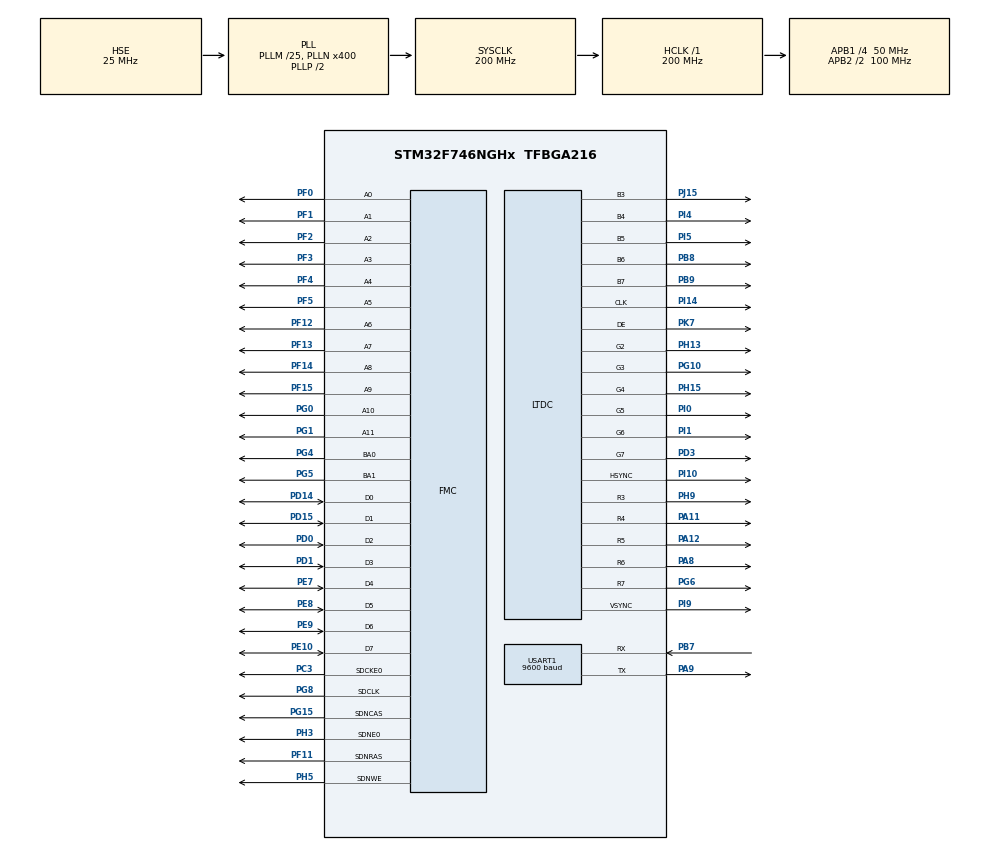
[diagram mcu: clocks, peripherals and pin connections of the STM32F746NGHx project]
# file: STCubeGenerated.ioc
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CORTEX_M7.AccessPermission-Cortex_Memory_Protection_Unit_Region0_Settings=MPU_REGION_FULL_ACCESS
CORTEX_M7.AccessPermission-Cortex_Memory_Protection_Unit_Region1_Settings=MPU_REGION_FULL_ACCESS
CORTEX_M7.AccessPermission-Cortex_Memory_Protection_Unit_Region2_Settings=MPU_REGION_FULL_ACCESS
CORTEX_M7.BaseAddress-Cortex_Memory_Protection_Unit_Region0_Settings=0x20000000
CORTEX_M7.BaseAddress-Cortex_Memory_Protection_Unit_Region1_Settings=0x2004C000
CORTEX_M7.BaseAddress-Cortex_Memory_Protection_Unit_Region2_Settings=0xC0000000
CORTEX_M7.CPU_DCache=Enabled
CORTEX_M7.CPU_ICache=Enabled
CORTEX_M7.DisableExec-Cortex_Memory_Protection_Unit_Region0_Settings=MPU_INSTRUCTION_ACCESS_DISABLE
CORTEX_M7.DisableExec-Cortex_Memory_Protection_Unit_Region1_Settings=MPU_INSTRUCTION_ACCESS_DISABLE
CORTEX_M7.DisableExec-Cortex_Memory_Protection_Unit_Region2_Settings=MPU_INSTRUCTION_ACCESS_DISABLE
CORTEX_M7.Enable-Cortex_Memory_Protection_Unit_Region0_Settings=MPU_REGION_ENABLE
CORTEX_M7.Enable-Cortex_Memory_Protection_Unit_Region1_Settings=MPU_REGION_ENABLE
CORTEX_M7.Enable-Cortex_Memory_Protection_Unit_Region2_Settings=MPU_REGION_ENABLE
CORTEX_M7.IsBufferable-Cortex_Memory_Protection_Unit_Region0_Settings=MPU_ACCESS_BUFFERABLE
CORTEX_M7.IsCacheable-Cortex_Memory_Protection_Unit_Region0_Settings=MPU_ACCESS_CACHEABLE
CORTEX_M7.IsShareable-Cortex_Memory_Protection_Unit_Region0_Settings=MPU_ACCESS_NOT_SHAREABLE
CORTEX_M7.MPU_Control=MPU_PRIVILEGED_DEFAULT
CORTEX_M7.Size-Cortex_Memory_Protection_Unit_Region0_Settings=MPU_REGION_SIZE_512KB
CORTEX_M7.Size-Cortex_Memory_Protection_Unit_Region1_Settings=MPU_REGION_SIZE_16KB
CORTEX_M7.Size-Cortex_Memory_Protection_Unit_Region2_Settings=MPU_REGION_SIZE_16MB
CORTEX_M7.TypeExtField-Cortex_Memory_Protection_Unit_Region0_Settings=MPU_TEX_LEVEL1
CORTEX_M7.TypeExtField-Cortex_Memory_Protection_Unit_Region1_Settings=MPU_TEX_LEVEL1
CORTEX_M7.TypeExtField-Cortex_Memory_Protection_Unit_Region2_Settings=MPU_TEX_LEVEL1
Mcu.Family=STM32F7
Mcu.Name=STM32F746NGHx
Mcu.Package=TFBGA216
NVIC.PriorityGroup=NVIC_PRIORITYGROUP_4
PA11.Mode=RGB565
PA11.Signal=LTDC_R4
PA12.Mode=RGB565
PA12.Signal=LTDC_R5
PA8.Mode=RGB565
PA8.Signal=LTDC_R6
PA9.Mode=Asynchronous
PA9.Signal=USART1_TX
PB7.Mode=Asynchronous
PB7.Signal=USART1_RX
PB8.Mode=RGB565
PB8.Signal=LTDC_B6
PB9.Mode=RGB565
PB9.Signal=LTDC_B7
PC3.Mode=SdramChipSelect1_1
PC3.Signal=FMC_SDCKE0
PC6.Signal=USART6_TX
PC7.Signal=USART6_RX
PD0.Signal=FMC_D2_DA2
PD1.Signal=FMC_D3_DA3
PD10.Signal=FMC_D15_DA15
PD11.Signal=FMC_A16_CLE
PD14.Signal=FMC_D0_DA0
PD15.Signal=FMC_D1_DA1
PD3.Mode=RGB565
PD3.Signal=LTDC_G7
PD8.Signal=FMC_D13_DA13
PD9.Signal=FMC_D14_DA14
PE0.Signal=FMC_NBL0
PE1.Signal=FMC_NBL1
PE10.Signal=FMC_D7_DA7
PE11.Signal=FMC_D8_DA8
PE12.Signal=FMC_D9_DA9
PE13.Signal=FMC_D10_DA10
PE14.Signal=FMC_D11_DA11
PE15.Signal=FMC_D12_DA12
PE7.Signal=FMC_D4_DA4
PE8.Signal=FMC_D5_DA5
PE9.Signal=FMC_D6_DA6
PF0.Signal=FMC_A0
PF1.Signal=FMC_A1
PF11.Signal=FMC_SDNRAS
PF12.Signal=FMC_A6
PF13.Signal=FMC_A7
PF14.Signal=FMC_A8
PF15.Signal=FMC_A9
PF2.Signal=FMC_A2
PF3.Signal=FMC_A3
PF4.Signal=FMC_A4
PF5.Signal=FMC_A5
PG0.Signal=FMC_A10
PG1.Signal=FMC_A11
PG10.Mode=RGB565
PG10.Signal=LTDC_G3
PG15.Signal=FMC_SDNCAS
PG4.Signal=FMC_A14_BA0
PG5.Signal=FMC_A15_BA1
PG6.Mode=RGB565
PG6.Signal=LTDC_R7
PG8.Signal=FMC_SDCLK
PH0/OSC_IN.Mode=HSE-External-Oscillator
PH0/OSC_IN.Signal=RCC_OSC_IN
PH1/OSC_OUT.Mode=HSE-External-Oscillator
PH1/OSC_OUT.Signal=RCC_OSC_OUT
PH13.Mode=RGB565
PH13.Signal=LTDC_G2
PH15.Mode=RGB565
PH15.Signal=LTDC_G4
PH3.Mode=SdramChipSelect1_1
PH3.Signal=FMC_SDNE0
PH5.Signal=FMC_SDNWE
PH9.Mode=RGB565
PH9.Signal=LTDC_R3
PI0.Mode=RGB565
PI0.Signal=LTDC_G5
PI1.Mode=RGB565
PI1.Signal=LTDC_G6
PI10.Mode=RGB565
PI10.Signal=LTDC_HSYNC
PI14.Mode=RGB565
PI14.Signal=LTDC_CLK
PI4.Mode=RGB565
PI4.Signal=LTDC_B4
PI5.Mode=RGB565
PI5.Signal=LTDC_B5
PI9.Mode=RGB565
PI9.Signal=LTDC_VSYNC
PJ15.Mode=RGB565
PJ15.Signal=LTDC_B3
PK7.Mode=RGB565
PK7.Signal=LTDC_DE
ProjectManager.HeapSize=0x200
ProjectManager.StackSize=0x400
ProjectManager.TargetToolchain=MDK-ARM V5
RCC.AHBFreq_Value=200000000
RCC.APB1CLKDivider=RCC_HCLK_DIV4
RCC.APB1Freq_Value=50000000
RCC.APB1TimFreq_Value=100000000
RCC.APB2CLKDivider=RCC_HCLK_DIV2
RCC.APB2Freq_Value=100000000
RCC.APB2TimFreq_Value=200000000
RCC.CortexFreq_Value=200000000
RCC.HCLKFreq_Value=200000000
RCC.HSE_VALUE=25000000
RCC.HSI_VALUE=16000000
RCC.LSE_VALUE=32768
RCC.PLLM=25
RCC.PLLN=400
RCC.PLLSAIRDiv=RCC_PLLSAIDIVR_4
RCC.PLLSourceVirtual=RCC_PLLSOURCE_HSE
RCC.SYSCLKFreq_VALUE=200000000
RCC.SYSCLKSource=RCC_SYSCLKSOURCE_PLLCLK
RCC.USBFreq_Value=200000000
RCC.VCOOutputFreq_Value=400000000
SH.FMC_A0.0=FMC_A0,12b-sda1
SH.FMC_A1.0=FMC_A1,12b-sda1
SH.FMC_A10.0=FMC_A10,12b-sda1
SH.FMC_A11.0=FMC_A11,12b-sda1
SH.FMC_A14_BA0.0=FMC_BA0,FourSdramBanks1
SH.FMC_A15_BA1.0=FMC_BA1,FourSdramBanks1
SH.FMC_A16_CLE.0=FMC_A16
SH.FMC_A2.0=FMC_A2,12b-sda1
SH.FMC_A3.0=FMC_A3,12b-sda1
SH.FMC_A4.0=FMC_A4,12b-sda1
SH.FMC_A5.0=FMC_A5,12b-sda1
SH.FMC_A6.0=FMC_A6,12b-sda1
SH.FMC_A7.0=FMC_A7,12b-sda1
SH.FMC_A8.0=FMC_A8,12b-sda1
SH.FMC_A9.0=FMC_A9,12b-sda1
SH.FMC_D0_DA0.0=FMC_D0,sd-8b-d1
SH.FMC_D10_DA10.0=FMC_D10
SH.FMC_D11_DA11.0=FMC_D11
SH.FMC_D12_DA12.0=FMC_D12
SH.FMC_D13_DA13.0=FMC_D13
SH.FMC_D14_DA14.0=FMC_D14
SH.FMC_D15_DA15.0=FMC_D15
SH.FMC_D1_DA1.0=FMC_D1,sd-8b-d1
SH.FMC_D2_DA2.0=FMC_D2,sd-8b-d1
SH.FMC_D3_DA3.0=FMC_D3,sd-8b-d1
SH.FMC_D4_DA4.0=FMC_D4,sd-8b-d1
SH.FMC_D5_DA5.0=FMC_D5,sd-8b-d1
SH.FMC_D6_DA6.0=FMC_D6,sd-8b-d1
SH.FMC_D7_DA7.0=FMC_D7,sd-8b-d1
SH.FMC_D8_DA8.0=FMC_D8
SH.FMC_D9_DA9.0=FMC_D9
SH.FMC_NBL0.0=FMC_NBL0
SH.FMC_NBL1.0=FMC_NBL1
SH.FMC_SDCLK.0=FMC_SDCLK,12b-sda1
SH.FMC_SDNCAS.0=FMC_SDNCAS,12b-sda1
SH.FMC_SDNRAS.0=FMC_SDNRAS,12b-sda1
SH.FMC_SDNWE.0=FMC_SDNWE,12b-sda1
USART1.BaudRate=9600
USART1.VirtualMode-Asynchronous=VM_ASYNC
VP_DMA2D_VS_DMA2D.Mode=DMA2D_Activate
board=STCubeGenerated

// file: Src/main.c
/* USER CODE BEGIN Header */
/**
  ******************************************************************************
  * @file           : main.c
  * @brief          : Main program body
  ******************************************************************************
  * @attention
  *
  * <h2><center>&copy; Copyright (c) 2019 STMicroelectronics.
  * All rights reserved.</center></h2>
  *
  * This software component is licensed by ST under BSD 3-Clause license,
  * the "License"; You may not use this file except in compliance with the
  * License. You may obtain a copy of the License at:
  *                        opensource.org/licenses/BSD-3-Clause
  *
  ******************************************************************************
  */
/* USER CODE END Header */
#include "main.h"

DMA2D_HandleTypeDef hdma2d;

LTDC_HandleTypeDef hltdc;

UART_HandleTypeDef huart1;

SDRAM_HandleTypeDef hsdram1;

/* USER CODE BEGIN PV */
/* Private variables ---------------------------------------------------------*/
uint8_t timerPeriodIsElapsed = 0;
/* USER CODE END PV */

void SystemClock_Config(void);
static void MPU_Config(void);
static void MX_GPIO_Init(void);
static void MX_FMC_Init(void);
static void MX_USART1_UART_Init(void);
static void MX_DMA2D_Init(void);
/* USER CODE BEGIN PFP */
/* Private function prototypes -----------------------------------------------*/
extern void BSP_SDRAM_Init(void);
/* USER CODE END PFP */

/* USER CODE BEGIN 0 */
/**
  * Override default HAL_GetTick function
  */
uint32_t HAL_GetTick (void) {
  static uint32_t ticks = 0U;
         uint32_t i;

  if (osKernelGetState () == osKernelRunning) {
    return ((uint32_t)osKernelGetTickCount ());
  }

  /* If Kernel is not running wait approximately 1 ms then increment
     and return auxiliary tick counter value */
  for (i = (SystemCoreClock >> 14U); i > 0U; i--) {
    __NOP(); __NOP(); __NOP(); __NOP(); __NOP(); __NOP();
    __NOP(); __NOP(); __NOP(); __NOP(); __NOP(); __NOP();
  }
  return ++ticks;
}

/**
  * Override default HAL_InitTick function
  */
HAL_StatusTypeDef HAL_InitTick(uint32_t TickPriority) {

  UNUSED(TickPriority);

  return HAL_OK;
}
/* USER CODE END 0 */

int main(void)
{

  /* MPU Configuration--------------------------------------------------------*/
  MPU_Config();

  /* Enable the CPU Cache */

  /* Enable I-Cache---------------------------------------------------------*/
  SCB_EnableICache();

  /* Enable D-Cache---------------------------------------------------------*/
  SCB_EnableDCache();

  /* MCU Configuration--------------------------------------------------------*/

  /* Reset of all peripherals, Initializes the Flash interface and the Systick. */
  HAL_Init();

  /* USER CODE BEGIN Init */
  BSP_SDRAM_Init();                           /* Initialize BSP SDRAM           */
  /* USER CODE END Init */

  /* Configure the system clock */
  SystemClock_Config();

  /* USER CODE BEGIN SysInit */
  SystemCoreClockUpdate();
  /* USER CODE END SysInit */

  /* Initialize all configured peripherals */
  MX_GPIO_Init();
  MX_USART1_UART_Init();
  MX_DMA2D_Init();
  /* USER CODE BEGIN 2 */

  /* Initialize CMSIS-RTOS2 */
  osKernelInitialize ();

  /* Create application main thread */
  osThreadNew(app_main, NULL, &app_main_attr);

  /* Start thread execution */
  osKernelStart();

  /* USER CODE END 2 */

  /* Infinite loop */
  /* USER CODE BEGIN WHILE */

	// DO NOT PLACE CODE HERE!!! This place is unreachable because threading is being used.
	// Place your code in the "app_main" function in Thread.c

  while (1)
  {

    /* USER CODE END WHILE */

  }
}

void SystemClock_Config(void)
{
  RCC_OscInitTypeDef RCC_OscInitStruct = {0};
  RCC_ClkInitTypeDef RCC_ClkInitStruct = {0};

  /** Configure the main internal regulator output voltage
  */
  __HAL_RCC_PWR_CLK_ENABLE();
  __HAL_PWR_VOLTAGESCALING_CONFIG(PWR_REGULATOR_VOLTAGE_SCALE1);

  /** Initializes the RCC Oscillators according to the specified parameters
  * in the RCC_OscInitTypeDef structure.
  */
  RCC_OscInitStruct.OscillatorType = RCC_OSCILLATORTYPE_HSE;
  RCC_OscInitStruct.HSEState = RCC_HSE_ON;
  RCC_OscInitStruct.PLL.PLLState = RCC_PLL_ON;
  RCC_OscInitStruct.PLL.PLLSource = RCC_PLLSOURCE_HSE;
  RCC_OscInitStruct.PLL.PLLM = 25;
  RCC_OscInitStruct.PLL.PLLN = 400;
  RCC_OscInitStruct.PLL.PLLP = RCC_PLLP_DIV2;
  RCC_OscInitStruct.PLL.PLLQ = 2;
  if (HAL_RCC_OscConfig(&RCC_OscInitStruct) != HAL_OK)
  {
    Error_Handler();
  }

  /** Activate the Over-Drive mode
  */
  if (HAL_PWREx_EnableOverDrive() != HAL_OK)
  {
    Error_Handler();
  }

  /** Initializes the CPU, AHB and APB buses clocks
  */
  RCC_ClkInitStruct.ClockType = RCC_CLOCKTYPE_HCLK|RCC_CLOCKTYPE_SYSCLK
                              |RCC_CLOCKTYPE_PCLK1|RCC_CLOCKTYPE_PCLK2;
  RCC_ClkInitStruct.SYSCLKSource = RCC_SYSCLKSOURCE_PLLCLK;
  RCC_ClkInitStruct.AHBCLKDivider = RCC_SYSCLK_DIV1;
  RCC_ClkInitStruct.APB1CLKDivider = RCC_HCLK_DIV4;
  RCC_ClkInitStruct.APB2CLKDivider = RCC_HCLK_DIV2;

  if (HAL_RCC_ClockConfig(&RCC_ClkInitStruct, FLASH_LATENCY_6) != HAL_OK)
  {
    Error_Handler();
  }
}

static void MX_DMA2D_Init(void)
{

  hdma2d.Instance = DMA2D;
  hdma2d.Init.Mode = DMA2D_M2M;
  hdma2d.Init.ColorMode = DMA2D_OUTPUT_ARGB8888;
  hdma2d.Init.OutputOffset = 0;
  hdma2d.LayerCfg[1].InputOffset = 0;
  hdma2d.LayerCfg[1].InputColorMode = DMA2D_INPUT_ARGB8888;
  hdma2d.LayerCfg[1].AlphaMode = DMA2D_NO_MODIF_ALPHA;
  hdma2d.LayerCfg[1].InputAlpha = 0;
  if (HAL_DMA2D_Init(&hdma2d) != HAL_OK)
  {
    Error_Handler();
  }
  if (HAL_DMA2D_ConfigLayer(&hdma2d, 1) != HAL_OK)
  {
    Error_Handler();
  }

}

void MX_LTDC_Init(void)
{

  LTDC_LayerCfgTypeDef pLayerCfg = {0};
  LTDC_LayerCfgTypeDef pLayerCfg1 = {0};

  hltdc.Instance = LTDC;
  hltdc.Init.HSPolarity = LTDC_HSPOLARITY_AL;
  hltdc.Init.VSPolarity = LTDC_VSPOLARITY_AL;
  hltdc.Init.DEPolarity = LTDC_DEPOLARITY_AL;
  hltdc.Init.PCPolarity = LTDC_PCPOLARITY_IPC;
  hltdc.Init.HorizontalSync = 7;
  hltdc.Init.VerticalSync = 3;
  hltdc.Init.AccumulatedHBP = 14;
  hltdc.Init.AccumulatedVBP = 5;
  hltdc.Init.AccumulatedActiveW = 654;
  hltdc.Init.AccumulatedActiveH = 485;
  hltdc.Init.TotalWidth = 660;
  hltdc.Init.TotalHeigh = 487;
  hltdc.Init.Backcolor.Blue = 0;
  hltdc.Init.Backcolor.Green = 0;
  hltdc.Init.Backcolor.Red = 0;
  if (HAL_LTDC_Init(&hltdc) != HAL_OK)
  {
    Error_Handler();
  }
  pLayerCfg.WindowX0 = 0;
  pLayerCfg.WindowX1 = 0;
  pLayerCfg.WindowY0 = 0;
  pLayerCfg.WindowY1 = 0;
  pLayerCfg.PixelFormat = LTDC_PIXEL_FORMAT_ARGB8888;
  pLayerCfg.Alpha = 0;
  pLayerCfg.Alpha0 = 0;
  pLayerCfg.BlendingFactor1 = LTDC_BLENDING_FACTOR1_CA;
  pLayerCfg.BlendingFactor2 = LTDC_BLENDING_FACTOR2_CA;
  pLayerCfg.FBStartAdress = 0;
  pLayerCfg.ImageWidth = 0;
  pLayerCfg.ImageHeight = 0;
  pLayerCfg.Backcolor.Blue = 0;
  pLayerCfg.Backcolor.Green = 0;
  pLayerCfg.Backcolor.Red = 0;
  if (HAL_LTDC_ConfigLayer(&hltdc, &pLayerCfg, 0) != HAL_OK)
  {
    Error_Handler();
  }
  pLayerCfg1.WindowX0 = 0;
  pLayerCfg1.WindowX1 = 0;
  pLayerCfg1.WindowY0 = 0;
  pLayerCfg1.WindowY1 = 0;
  pLayerCfg1.PixelFormat = LTDC_PIXEL_FORMAT_ARGB8888;
  pLayerCfg1.Alpha = 0;
  pLayerCfg1.Alpha0 = 0;
  pLayerCfg1.BlendingFactor1 = LTDC_BLENDING_FACTOR1_CA;
  pLayerCfg1.BlendingFactor2 = LTDC_BLENDING_FACTOR2_CA;
  pLayerCfg1.FBStartAdress = 0;
  pLayerCfg1.ImageWidth = 0;
  pLayerCfg1.ImageHeight = 0;
  pLayerCfg1.Backcolor.Blue = 0;
  pLayerCfg1.Backcolor.Green = 0;
  pLayerCfg1.Backcolor.Red = 0;
  if (HAL_LTDC_ConfigLayer(&hltdc, &pLayerCfg1, 1) != HAL_OK)
  {
    Error_Handler();
  }

}

static void MX_USART1_UART_Init(void)
{

  huart1.Instance = USART1;
  huart1.Init.BaudRate = 9600;
  huart1.Init.WordLength = UART_WORDLENGTH_8B;
  huart1.Init.StopBits = UART_STOPBITS_1;
  huart1.Init.Parity = UART_PARITY_NONE;
  huart1.Init.Mode = UART_MODE_TX_RX;
  huart1.Init.HwFlowCtl = UART_HWCONTROL_NONE;
  huart1.Init.OverSampling = UART_OVERSAMPLING_16;
  huart1.Init.OneBitSampling = UART_ONE_BIT_SAMPLE_DISABLE;
  huart1.AdvancedInit.AdvFeatureInit = UART_ADVFEATURE_NO_INIT;
  if (HAL_UART_Init(&huart1) != HAL_OK)
  {
    Error_Handler();
  }

}

/* FMC initialization function */
static void MX_FMC_Init(void)
{

  FMC_SDRAM_TimingTypeDef SdramTiming = {0};

  /** Perform the SDRAM1 memory initialization sequence
  */
  hsdram1.Instance = FMC_SDRAM_DEVICE;
  /* hsdram1.Init */
  hsdram1.Init.SDBank = FMC_SDRAM_BANK1;
  hsdram1.Init.ColumnBitsNumber = FMC_SDRAM_COLUMN_BITS_NUM_8;
  hsdram1.Init.RowBitsNumber = FMC_SDRAM_ROW_BITS_NUM_12;
  hsdram1.Init.MemoryDataWidth = FMC_SDRAM_MEM_BUS_WIDTH_8;
  hsdram1.Init.InternalBankNumber = FMC_SDRAM_INTERN_BANKS_NUM_4;
  hsdram1.Init.CASLatency = FMC_SDRAM_CAS_LATENCY_1;
  hsdram1.Init.WriteProtection = FMC_SDRAM_WRITE_PROTECTION_DISABLE;
  hsdram1.Init.SDClockPeriod = FMC_SDRAM_CLOCK_DISABLE;
  hsdram1.Init.ReadBurst = FMC_SDRAM_RBURST_DISABLE;
  hsdram1.Init.ReadPipeDelay = FMC_SDRAM_RPIPE_DELAY_0;
  /* SdramTiming */
  SdramTiming.LoadToActiveDelay = 16;
  SdramTiming.ExitSelfRefreshDelay = 16;
  SdramTiming.SelfRefreshTime = 16;
  SdramTiming.RowCycleDelay = 16;
  SdramTiming.WriteRecoveryTime = 16;
  SdramTiming.RPDelay = 16;
  SdramTiming.RCDDelay = 16;

  if (HAL_SDRAM_Init(&hsdram1, &SdramTiming) != HAL_OK)
  {
    Error_Handler( );
  }

}

static void MX_GPIO_Init(void)
{
  GPIO_InitTypeDef GPIO_InitStruct = {0};

  /* GPIO Ports Clock Enable */
  __HAL_RCC_GPIOE_CLK_ENABLE();
  __HAL_RCC_GPIOB_CLK_ENABLE();
  __HAL_RCC_GPIOG_CLK_ENABLE();
  __HAL_RCC_GPIOD_CLK_ENABLE();
  __HAL_RCC_GPIOA_CLK_ENABLE();
  __HAL_RCC_GPIOI_CLK_ENABLE();
  __HAL_RCC_GPIOK_CLK_ENABLE();
  __HAL_RCC_GPIOF_CLK_ENABLE();
  __HAL_RCC_GPIOJ_CLK_ENABLE();
  __HAL_RCC_GPIOH_CLK_ENABLE();
  __HAL_RCC_GPIOC_CLK_ENABLE();

  /*Configure GPIO pins : PC7 PC6 */
  GPIO_InitStruct.Pin = GPIO_PIN_7|GPIO_PIN_6;
  GPIO_InitStruct.Mode = GPIO_MODE_AF_PP;
  GPIO_InitStruct.Pull = GPIO_NOPULL;
  GPIO_InitStruct.Speed = GPIO_SPEED_FREQ_VERY_HIGH;
  GPIO_InitStruct.Alternate = GPIO_AF8_USART6;
  HAL_GPIO_Init(GPIOC, &GPIO_InitStruct);

}

/* USER CODE BEGIN 4 */
void HAL_UART_RxCpltCallback(UART_HandleTypeDef *UartHandle)
{
	//if (UartHandle->Instance == USART1)
	//{
		//...
		// Restart reception via interrupts, because RXNEIE is automatically disabled.
		//HAL_UART_Receive_IT(&huart1, (uint8_t *)&receivedUsart1Data, 1)
	//}
}
/* USER CODE END 4 */

 /* MPU Configuration */

void MPU_Config(void)
{
  MPU_Region_InitTypeDef MPU_InitStruct = {0};

  /* Disables the MPU */
  HAL_MPU_Disable();

  /** Initializes and configures the Region and the memory to be protected
  */
  MPU_InitStruct.Enable = MPU_REGION_ENABLE;
  MPU_InitStruct.Number = MPU_REGION_NUMBER0;
  MPU_InitStruct.BaseAddress = 0x20000000;
  MPU_InitStruct.Size = MPU_REGION_SIZE_512KB;
  MPU_InitStruct.SubRegionDisable = 0x0;
  MPU_InitStruct.TypeExtField = MPU_TEX_LEVEL1;
  MPU_InitStruct.AccessPermission = MPU_REGION_FULL_ACCESS;
  MPU_InitStruct.DisableExec = MPU_INSTRUCTION_ACCESS_DISABLE;
  MPU_InitStruct.IsShareable = MPU_ACCESS_NOT_SHAREABLE;
  MPU_InitStruct.IsCacheable = MPU_ACCESS_CACHEABLE;
  MPU_InitStruct.IsBufferable = MPU_ACCESS_BUFFERABLE;

  HAL_MPU_ConfigRegion(&MPU_InitStruct);

  /** Initializes and configures the Region and the memory to be protected
  */
  MPU_InitStruct.Number = MPU_REGION_NUMBER1;
  MPU_InitStruct.BaseAddress = 0x2004C000;
  MPU_InitStruct.Size = MPU_REGION_SIZE_16KB;
  MPU_InitStruct.IsCacheable = MPU_ACCESS_NOT_CACHEABLE;
  MPU_InitStruct.IsBufferable = MPU_ACCESS_NOT_BUFFERABLE;

  HAL_MPU_ConfigRegion(&MPU_InitStruct);

  /** Initializes and configures the Region and the memory to be protected
  */
  MPU_InitStruct.Number = MPU_REGION_NUMBER2;
  MPU_InitStruct.BaseAddress = 0xC0000000;
  MPU_InitStruct.Size = MPU_REGION_SIZE_16MB;

  HAL_MPU_ConfigRegion(&MPU_InitStruct);
  /* Enables the MPU */
  HAL_MPU_Enable(MPU_PRIVILEGED_DEFAULT);

}

void Error_Handler(void)
{
  while(1)
  {
  }
}
